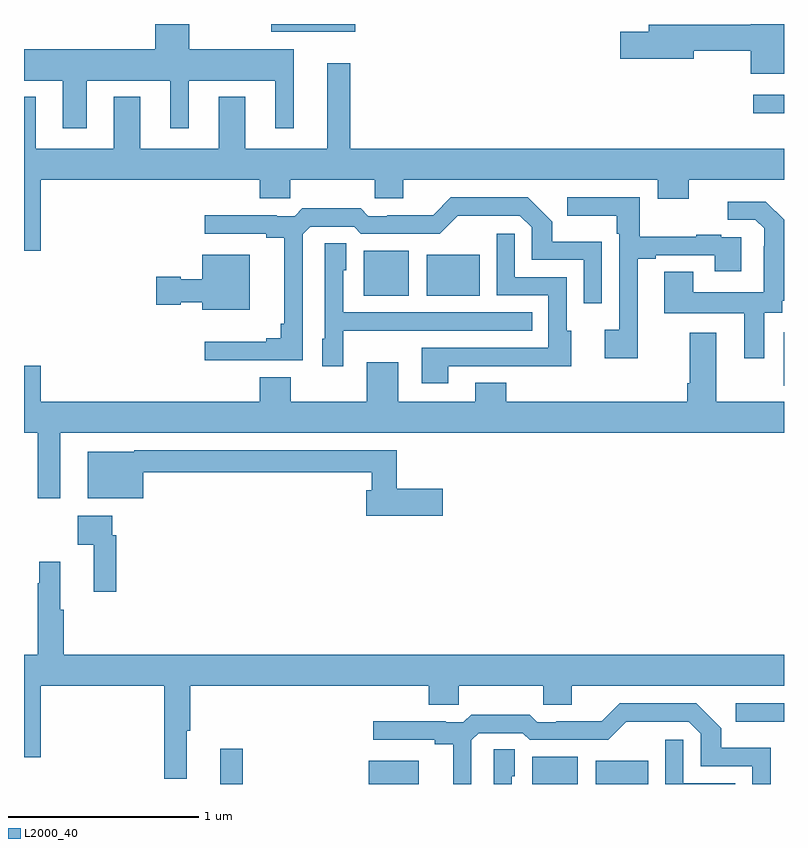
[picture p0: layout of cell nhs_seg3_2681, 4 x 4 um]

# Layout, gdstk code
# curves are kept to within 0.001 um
import gdstk
lib = gdstk.Library(unit=1e-6, precision=1e-09)
def R(c, l, rs):  # rectangles x0, y0, x1, y1
    for r in rs: c.add(gdstk.rectangle(r[:2], r[2:], *l))
def P(c, l, *ps):  # polygons
    for p in ps: c.add(gdstk.Polygon(p, *l))
L2000_40 = (2000, 40)

nhs_seg3_2681 = lib.new_cell('nhs_seg3_2681')
R(nhs_seg3_2681, L2000_40, [(250.034,700.4,250.151,700.585), (250.814,700.4,251.077,700.522), (251.675,700.4,251.914,700.543), (252.008,700.4,252.286,700.522), (252.747,700.727,253,700.824), (250.787,702.971,251.026,703.207), (251.12,702.971,251.398,703.186), (252.837,703.931,253,704.028), (250.302,704.36,250.744,704.4)])
P(nhs_seg3_2681, L2000_40, [(249.331,704.102),(249.77,704.102),(249.77,703.851),(249.868,703.851),(249.868,704.102),(250.322,704.102),(250.322,703.851),(250.42,703.851),(250.42,704.266),(249.87,704.266),(249.87,704.4),(249.692,704.4),(249.692,704.266),(249,704.266),(249,704.102),(249.203,704.102),(249.203,703.851),(249.331,703.851)],
  [(253,704.4),(252.824,704.4),(252.824,704.396),(252.287,704.396),(252.287,704.36),(252.138,704.36),(252.138,704.218),(252.526,704.218),(252.526,704.26),(252.824,704.26),(252.824,704.138),(253,704.138)],
  [(250.717,704.194),(250.595,704.194),(250.595,703.744),(250.165,703.744),(250.165,704.017),(250.025,704.017),(250.025,703.744),(249.613,703.744),(249.613,704.017),(249.473,704.017),(249.473,703.744),(249.061,703.744),(249.061,704.017),(249,704.017),(249,703.206),(249.088,703.206),(249.088,703.58),(250.241,703.58),(250.241,703.482),(250.401,703.482),(250.401,703.58),(250.846,703.58),(250.846,703.482),(250.996,703.482),(250.996,703.58),(252.335,703.58),(252.335,703.481),(252.499,703.481),(252.499,703.58),(253,703.58),(253,703.744),(250.717,703.744)],
  [(252.229,703.164),(252.325,703.164),(252.325,703.182),(252.635,703.182),(252.635,703.098),(252.775,703.098),(252.775,703.278),(252.671,703.278),(252.671,703.291),(252.539,703.291),(252.539,703.28),(252.241,703.28),(252.241,703.488),(251.859,703.488),(251.859,703.391),(252.12,703.391),(252.12,703.295),(252.132,703.295),(252.132,702.79),(252.057,702.79),(252.057,702.642),(252.229,702.642)],
  [(250.467,703.293),(250.506,703.332),(250.737,703.332),(250.773,703.296),(251.187,703.296),(251.282,703.391),(251.61,703.392),(251.673,703.329),(251.673,703.158),(251.946,703.158),(251.946,702.93),(252.042,702.93),(252.042,703.255),(251.781,703.255),(251.781,703.358),(251.65,703.488),(251.247,703.488),(251.153,703.394),(250.912,703.394),(250.912,703.389),(250.812,703.389),(250.773,703.429),(250.465,703.429),(250.425,703.389),(250.331,703.389),(250.331,703.394),(249.951,703.394),(249.951,703.296),(250.274,703.296),(250.274,703.274),(250.37,703.274),(250.37,702.823),(250.351,702.823),(250.351,702.746),(250.274,702.746),(250.274,702.727),(249.951,702.727),(249.951,702.63),(250.467,702.63)],
  [(252.895,702.88),(252.99,702.88),(252.99,702.944),(253,702.944),(253,703.37),(252.905,703.465),(252.705,703.465),(252.705,703.371),(252.849,703.371),(252.896,703.324),(252.896,703.229),(252.894,703.229),(252.894,702.988),(252.523,702.988),(252.523,703.097),(252.371,703.097),(252.371,702.878),(252.791,702.878),(252.791,702.642),(252.895,702.642)],
  [(251.233,702.6),(251.663,702.6),(251.663,702.599),(251.881,702.599),(251.881,702.786),(251.856,702.786),(251.856,703.068),(251.583,703.068),(251.583,703.297),(251.487,703.297),(251.487,702.972),(251.76,702.972),(251.76,702.696),(251.093,702.696),(251.093,702.51),(251.233,702.51)],
  [(250.68,702.785),(250.997,702.785),(250.997,702.786),(251.675,702.786),(251.675,702.882),(250.68,702.882),(250.68,703.104),(250.696,703.104),(250.696,703.247),(250.584,703.247),(250.584,702.744),(250.571,702.744),(250.571,702.6),(250.68,702.6)],
  [(250.189,703.186),(249.938,703.186),(249.938,703.057),(249.825,703.057),(249.825,703.07),(249.696,703.07),(249.696,702.923),(249.825,702.923),(249.825,702.935),(249.938,702.935),(249.938,702.896),(250.189,702.896)],
  [(253,702.778),(252.999,702.777),(252.999,702.497),(253,702.497)],
  [(249.19,702.248),(253,702.248),(253,702.412),(252.643,702.412),(252.643,702.775),(252.503,702.775),(252.503,702.508),(252.491,702.508),(252.491,702.412),(251.539,702.412),(251.539,702.511),(251.375,702.511),(251.375,702.412),(250.969,702.412),(250.969,702.619),(250.805,702.619),(250.805,702.412),(250.405,702.412),(250.405,702.541),(250.241,702.541),(250.241,702.412),(249.088,702.412),(249.088,702.601),(249,702.601),(249,702.248),(249.073,702.248),(249.073,701.904),(249.19,701.904)],
  [(251.203,701.955),(250.961,701.955),(250.961,702.156),(249.579,702.156),(249.579,702.148),(249.335,702.148),(249.335,701.903),(249.628,701.903),(249.628,702.04),(250.829,702.04),(250.829,701.947),(250.802,701.947),(250.802,701.813),(251.203,701.813)],
  [(249.485,701.708),(249.465,701.708),(249.465,701.812),(249.282,701.812),(249.282,701.66),(249.368,701.66),(249.368,701.412),(249.485,701.412)],
  [(249.857,700.68),(249.875,700.68),(249.875,700.916),(251.129,700.916),(251.129,700.818),(251.289,700.818),(251.289,700.916),(251.734,700.916),(251.734,700.818),(251.884,700.818),(251.884,700.916),(253,700.916),(253,701.08),(249.209,701.08),(249.209,701.316),(249.191,701.316),(249.191,701.569),(249.081,701.569),(249.081,701.456),(249.073,701.456),(249.073,701.08),(249,701.08),(249,700.542),(249.088,700.542),(249.088,700.916),(249.739,700.916),(249.739,700.428),(249.857,700.428)],
  [(251.355,700.629),(251.394,700.668),(251.625,700.668),(251.661,700.632),(252.075,700.632),(252.17,700.727),(252.498,700.728),(252.561,700.665),(252.561,700.494),(252.834,700.494),(252.834,700.4),(252.93,700.4),(252.93,700.591),(252.669,700.591),(252.669,700.694),(252.538,700.824),(252.135,700.824),(252.041,700.73),(251.8,700.73),(251.8,700.725),(251.7,700.725),(251.661,700.765),(251.353,700.765),(251.313,700.725),(251.219,700.725),(251.219,700.73),(250.839,700.73),(250.839,700.632),(251.162,700.632),(251.162,700.61),(251.258,700.61),(251.258,700.4),(251.355,700.4)],
  [(252.744,700.404),(252.471,700.404),(252.471,700.633),(252.375,700.633),(252.375,700.4),(252.744,700.4)],
  [(251.568,700.44),(251.584,700.44),(251.584,700.583),(251.472,700.583),(251.472,700.4),(251.568,700.4)])

lib.write_gds('nhs_seg3_2681.gds')
